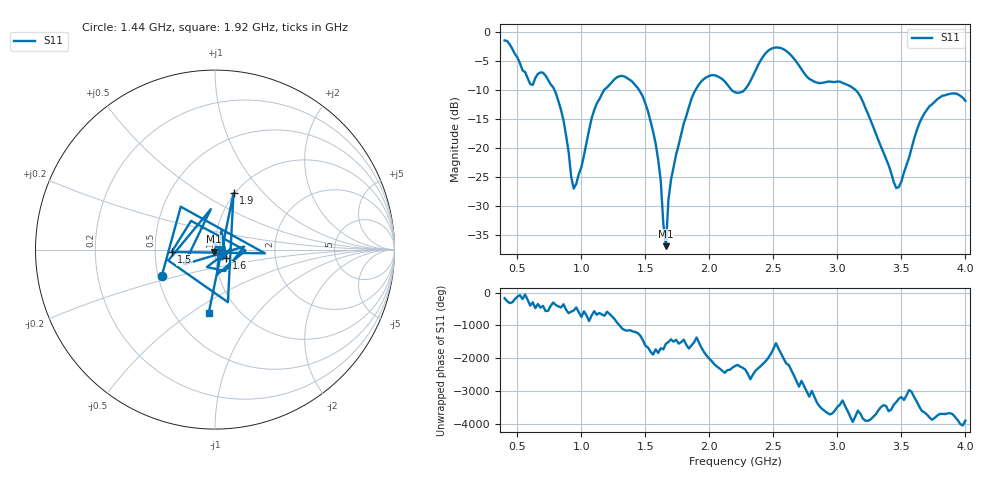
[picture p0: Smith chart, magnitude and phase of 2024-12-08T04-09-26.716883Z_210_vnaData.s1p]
!Created with skrf (http://scikit-rf.org).
# Hz S RI R 50.0
!freq ReS11 ImS11
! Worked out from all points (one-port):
!   181 points, 400 MHz to 4 GHz, reference 50 ohm
!   lowest |S11| = -37.0 dB at 1.66 GHz (marker M1), VSWR 1.03, Z = 49.3 - j1.23 ohm
!   |S11| at or under -10 dB: 790.4 MHz to 1.177 GHz (386.2 MHz wide, 39.3 % of centre); 1.452 GHz to 1.89 GHz (439 MHz wide, 26.3 % of centre); 3.144 GHz to end of sweep (the widest 3 of 4)
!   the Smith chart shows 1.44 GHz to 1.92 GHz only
!   S11 on the Smith chart (normalised r, x): 1.44 GHz: 0.52, -0.17; 1.5 GHz: 0.61, -0.02; 1.6 GHz: 1.13, -0.11; 1.9 GHz: 0.99, +0.69; 1.92 GHz: 0.73, -0.59
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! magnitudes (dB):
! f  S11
! 400 MHz  -1.4
! 600 MHz  -8.9
! 720 MHz  -7.5
! 860 MHz  -15.2
! 940 MHz  -27.0
! 1.12 GHz  -12.3
! 1.3 GHz  -7.6
! 1.44 GHz  -9.6
! 1.5 GHz  -12.3
! 1.6 GHz  -22.1
! 1.66 GHz  -37.0
! 1.68 GHz  -28.9
! 1.76 GHz  -19.4
! 1.9 GHz  -9.6
! 1.92 GHz  -8.9
! 2.04 GHz  -7.4
! 2.2 GHz  -10.3
! 2.28 GHz  -9.8
! 2.48 GHz  -2.9
! 2.66 GHz  -4.5
! 2.82 GHz  -8.5
! 3.1 GHz  -9.3
! 3.2 GHz  -12.0
! 3.46 GHz  -26.9
! 3.56 GHz  -21.6
! 3.72 GHz  -12.8
! 3.88 GHz  -10.6
! 4 GHz  -11.8
